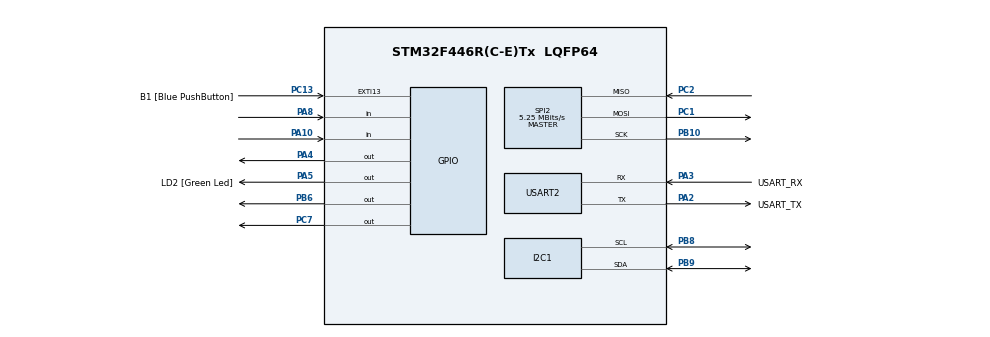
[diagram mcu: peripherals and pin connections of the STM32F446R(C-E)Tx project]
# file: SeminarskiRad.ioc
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Mcu.Family=STM32F4
Mcu.Name=STM32F446R(C-E)Tx
Mcu.Package=LQFP64
NVIC.EXTI15_10_IRQn=true\:0\:0\:false\:false\:true\:true\:true\:true
NVIC.PriorityGroup=NVIC_PRIORITYGROUP_0
PA10.Signal=GPIO_Input
PA13.GPIO_Label=TMS
PA13.Mode=Serial_Wire
PA13.Signal=SYS_JTMS-SWDIO
PA14.GPIO_Label=TCK
PA14.Mode=Serial_Wire
PA14.Signal=SYS_JTCK-SWCLK
PA2.GPIO_Label=USART_TX
PA2.Mode=Asynchronous
PA2.Signal=USART2_TX
PA3.GPIO_Label=USART_RX
PA3.Mode=Asynchronous
PA3.Signal=USART2_RX
PA4.Signal=GPIO_Output
PA5.GPIO_Label=LD2 [Green Led]
PA5.Signal=GPIO_Output
PA8.Signal=GPIO_Input
PB10.Mode=Full_Duplex_Master
PB10.Signal=SPI2_SCK
PB3.GPIO_Label=SWO
PB3.Signal=SYS_JTDO-SWO
PB6.Signal=GPIO_Output
PB8.Mode=I2C
PB8.Signal=I2C1_SCL
PB9.Mode=I2C
PB9.Signal=I2C1_SDA
PC1.Mode=Full_Duplex_Master
PC1.Signal=SPI2_MOSI
PC13.GPIO_Label=B1 [Blue PushButton]
PC13.GPIO_ModeDefaultEXTI=GPIO_MODE_IT_FALLING
PC13.GPIO_PuPd=GPIO_PULLDOWN
PC13.Signal=GPXTI13
PC14-OSC32_IN.Mode=LSE-External-Oscillator
PC14-OSC32_IN.Signal=RCC_OSC32_IN
PC15-OSC32_OUT.Mode=LSE-External-Oscillator
PC15-OSC32_OUT.Signal=RCC_OSC32_OUT
PC2.Mode=Full_Duplex_Master
PC2.Signal=SPI2_MISO
PC7.Signal=GPIO_Output
PH0-OSC_IN.Mode=HSE-External-Oscillator
PH0-OSC_IN.Signal=RCC_OSC_IN
PH1-OSC_OUT.Mode=HSE-External-Oscillator
PH1-OSC_OUT.Signal=RCC_OSC_OUT
ProjectManager.HeapSize=0x200
ProjectManager.StackSize=0x400
ProjectManager.TargetToolchain=STM32CubeIDE
RCC.48MHZClocksFreq_Value=84000000
RCC.AHBFreq_Value=84000000
RCC.APB1CLKDivider=RCC_HCLK_DIV2
RCC.APB1Freq_Value=42000000
RCC.APB1TimFreq_Value=84000000
RCC.APB2Freq_Value=84000000
RCC.APB2TimFreq_Value=84000000
RCC.CortexFreq_Value=84000000
RCC.FLatency-AdvancedSettings=FLASH_LATENCY_2
RCC.HCLKFreq_Value=84000000
RCC.HSE_VALUE=8000000
RCC.HSI_VALUE=16000000
RCC.PLLM=8
RCC.PLLN=84
RCC.SYSCLKFreq_VALUE=84000000
RCC.SYSCLKSource=RCC_SYSCLKSOURCE_PLLCLK
RCC.USBFreq_Value=84000000
RCC.VCOOutputFreq_Value=168000000
SPI2.BaudRatePrescaler=SPI_BAUDRATEPRESCALER_8
SPI2.CalculateBaudRate=5.25 MBits/s
SPI2.Direction=SPI_DIRECTION_2LINES
SPI2.Mode=SPI_MODE_MASTER
SPI2.VirtualType=VM_MASTER
USART2.VirtualMode=VM_ASYNC
board=NUCLEO-F446RE

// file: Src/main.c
/* USER CODE BEGIN Header */
/**
  ******************************************************************************
  * @file           : main.c
  * @brief          : Main program body
  ******************************************************************************
  * @attention
  *
  * Copyright (c) 2025 STMicroelectronics.
  * All rights reserved.
  *
  * This software is licensed under terms that can be found in the LICENSE file
  * in the root directory of this software component.
  * If no LICENSE file comes with this software, it is provided AS-IS.
  *
  ******************************************************************************
  */
/* USER CODE END Header */
#include "main.h"
#include "i2c.h"
#include "spi.h"
#include "usart.h"
#include "gpio.h"
#include <string.h>
#include <stdio.h>

/* USER CODE BEGIN PD */
// I2C adresa PCF8574T shiftana u lijevo za 1 jer I2C treba 7-bit adresiranje
#define PCF8574T_ADDRESS  0x27 << 1 // 0x4E

// LCD
#define LCD_BACKLIGHT 0x08      // Upravlja LCD pozadinskim svjetlom (0x08 = ON)
#define LCD_ENABLE    0x04      // Omogućuje pin za LCD operacije (slanje podatka ili komandi)
#define LCD_RS        0x01      // Odabir registara, 0 = LCD ceka naredbu, 1 = ceka podatke za prikaz

// RFID Komande
#define PCD_IDLE        0x00
#define PCD_AUTHENT     0x0E
#define PCD_RECEIVE     0x08
#define PCD_TRANSMIT    0x04
#define PCD_TRANSCEIVE  0x0C    // Prenosi i prima podatke, komunikacija sa karticom
#define PCD_RESETPHASE  0x0F    // soft reset MFRC522

// RFID Registri
#define CommandReg        0x01  // Zadaje RFID-u koju komandu da izvrši
#define CommIEnReg        0x02  // Omogućuje prekid kada se nešto dogodi
#define CommIrqReg        0x04  // Pokazuje je li neka operacija završena
#define DivIrqReg        0x05   // nadzire ostale uvjete prekida
#define ErrorReg         0x06   // detektira greške u komunikaciji
#define FIFODataReg      0x09   // FIFODataReg je registar kroz koji se šalju i primaju podaci
#define FIFOLevelReg     0x0A   // Koliko podataka je trenutno u FIFO memoriji.
#define WaterLevelReg    0x0B   // Postavlja granicu koliko podataka smije biti u FIFO bufferu
#define ControlReg       0x0C   // Sadrži kontrolne bitove
#define BitFramingReg    0x0D   // Koliko bita treba poslati
#define CollReg          0x0E   // Provjerava je li bilo sudara podataka prilikom komunikacije sa više kartica
#define ModeReg          0x11   // Postavlja osnovni radni način RFID čitača.
#define TxControlReg     0x14   // Pali antenu, bez ovog RFID ne šalje ništa
#define TxASKReg         0x15   // Amplitude Shift Keying je metoda koju čitač koristi za slanje podataka kartici. Ovaj registar određuje kako se točno oblikuje izlazni signal.
// Podešavaju tajmer u RFID čipu.
#define TModeReg         0x2A
#define TPrescalerReg    0x2B   // Timer prescaler settings, određuje brzinu brojanja
#define TReloadRegH      0x2C   // gornji bajt tajmera
#define TReloadRegL      0x2D   // donji bajt tajmera

// RFID PICC Komande
#define PICC_ANTICOLL    0x93   // Čita UID i sprječava da više kartica zbune čitač
// Prva komanda koju RFID čitač šalje nakon što upali antenu
#define PICC_REQIDL      0x26   // Detekcija RFID kartice u mirovanju

#define MFRC522_SPI      &hspi2
#define RFID_RST_PIN     GPIO_PIN_8 // reset
#define RFID_RST_PORT    GPIOA
// NSS je signalna linija koja se koristi za omogućavanje ili onemogućavanje komunikacije s određenim SLAVE uređajem
#define RFID_NSS_PIN     GPIO_PIN_4 // čip selecet, aktivno kad je low
#define RFID_NSS_PORT    GPIOA
/* USER CODE END PD */

/* USER CODE BEGIN PV */

//========================//
//   KARTICE STUDENATA    //
//========================//
const uint8_t Student1[4] = {0x16, 0xFC, 0xDE, 0x12};
const uint8_t Student2[4] = {0x94, 0x24, 0x09, 0x1E};
const uint8_t Student3[4] = {0x67, 0x64, 0xE8, 0x2B};
//const uint8_t Student4[4] = {0xEA, 0x4C, 0xC0, 0x2E};

//=========================//
//   BROJAC PRISUTNOSTI    //
//=========================//
// Svaki student ima svoj brojač prisutnosti, indeks odgovara studentu (0=Student1, 1=Student2, 2=Student3)
uint32_t attendance[3] = {0, 0, 0};

//======================//
//   PINovi STUDENATA   //
//======================//
const char Student1_PIN[] = "1234";
const char Student2_PIN[] = "4545";
const char Student3_PIN[] = "2323";

//===========================//
//   PRACENJE DOLAZAKA       //
//===========================//
const char *StudentNames[3] = {"Adrian", "Sara", "Iva"}; // imena za prikaz na LCD-u

uint8_t presentToday[3] = {0, 0, 0}; // 1 = bio na satu danas, 0 = nije

//==================================//
//   BROJAC ODRZANIH SATI           //
//==================================//
//broji koliko je sati odrzano, pocinje na 1 jer se smatra da je plocica u prvom satu od trenutka kad se upali
uint32_t classesHeld = 1;
/* USER CODE END PV */

void SystemClock_Config(void);
/* USER CODE BEGIN PFP */

//=============================//
//   LCD FUNCTION PROTOTYPES   //
//=============================//
void I2C_LCD_Init(void);
void I2C_LCD_Send_Cmd(uint8_t cmd) ;               // Šalje naredbu LCD-u (npr. očisti ekran)
void I2C_LCD_Send_Data(uint8_t data);              // Šalje podatak (znak) na LCD za prikaz (npr. pokaži znak, broj...)
void I2C_LCD_Send_String(char *str);               // Šalje tekst (string) na LCD za prikaz
void I2C_LCD_Send_Byte(uint8_t val, uint8_t mode); // I2C_LCD_Send_Cmd i Data zovu ovu funkciju koja određuje oće li se tretirati kao naredba 0 ili podatak 1
void I2C_LCD_Pulse_En(uint8_t data);               // Šalje kratki signal bez kojeg LCD ništa ne šalje

//==============================//
//   RFID FUNCTION PROTOTYPES   //
//==============================//
void RC522_Init(void);
void RC522_WriteRegister(uint8_t reg, uint8_t value); // 1.šalje adresu "reg" u koju se piše / 2.šalje "value" vrijednost koja se piše (tako se RFIDu govori da npr. upali antenu)
uint8_t RC522_ReadRegister(uint8_t reg);              // Pročita što piše u određenom registru "reg"
uint8_t RC522_Request(uint8_t *cardType);             // Provjerava je li kartica prisutna u polju čitača i identificira njezin tip - Ako je - vraća 1 / Nije - 0
uint8_t RC522_Anticoll(uint8_t *serNum);              // Sprječavanja sudare (ako ima više kartica) kako bi odabrao jednu karticu i pročitao njezin UID
void RC522_Reset(void);
void RC522_AntennaOn(void);                           // Uključi antenu RFID čitača i tako omogućuje komunikaciju sa karticama

//==============================//
//   PIN FUNCTION PROTOTYPE     //
//==============================//
uint8_t WaitForPIN(const char *correctPIN); // Čeka unos PINa putem UART-a i uspoređuje ga s ispravnim

//==============================//
//  SUMMARY FUNCTION PROTOTYPE  //
//==============================//
void ShowClassSummary(void); // Prikazuje na LCD-u tko je bio na satu, a tko nije

//============================//
//   POSTOTAK PROTOTYPE       //
//============================//
void ShowAttendancePercentage(void); // Prikazuje postotak dolazaka za svakog studenta (attendance / classesHeld)

/* USER CODE END PFP */

/* USER CODE BEGIN 0 */

// Varijable su deklarirane negdje drugdje
// "extern" korsitim zato što omogućuje da ih koristim u bilo kojem dijelu programa bez potrebe za ponovnim definiranjem
extern I2C_HandleTypeDef hi2c1;
extern SPI_HandleTypeDef hspi2;
extern UART_HandleTypeDef huart2;

//===========================//
//   LCD CONTROL FUNCTIONS   //
//===========================//
// Funkcija za slanje bajta preko I2C
// Šalje bajt (val) u dvije polovice jer je u 4-bitnom modu (4 gornja i 4 donja)
void I2C_LCD_Send_Byte(uint8_t val, uint8_t mode) {
    uint8_t high_nibble = (val & 0xF0) | LCD_BACKLIGHT | mode;        // uzima gornjih 4 bita(7-4) od bajta "val" i kombinira ih sa LCD_BACKLIGHT i mode, donje bitove (3-0) postavlja na 0
    uint8_t low_nibble = ((val << 4) & 0xF0) | LCD_BACKLIGHT | mode;  // uzima donja 4 bita(3-0) od bajta "val" i shifta u lijevo za 4 u poziciju high nibblea, donje bitove postavlja na 0
    I2C_LCD_Pulse_En(high_nibble); // Prvo šalje gornja 4 bita
    I2C_LCD_Pulse_En(low_nibble);  // Zatim šalje donja 4 bita
}

// Generira enable puls
void I2C_LCD_Pulse_En(uint8_t data) { // uzima podatke koje već imamo, dodaje EN bit i privremeno sprema u "temp", pa kad ga pošaljemo LCD-u, linija EN ide u 1 i omogućava da LCD pročita podatke
    uint8_t temp = data | LCD_ENABLE; // EN = 1, svi ostali bitovi ostaju isti zbog |
    HAL_I2C_Master_Transmit(&hi2c1, PCF8574T_ADDRESS, &temp, 1, HAL_MAX_DELAY); // šalje pripremljeni bajt "temp" preko I2C sabirnice na PCF8574T
    HAL_Delay(1);
    temp &= ~LCD_ENABLE; // invertira brojeve - sve je 1 osim EN bita koji je 0
    HAL_I2C_Master_Transmit(&hi2c1, PCF8574T_ADDRESS, &temp, 1, HAL_MAX_DELAY); // isto kao i ovo gore ali sada "temp" ima EN pin očišćen
    HAL_Delay(1);
}

// Funkcija za slanje komande LCD-u
// 0 indikator da se šalje naredba
void I2C_LCD_Send_Cmd(uint8_t cmd) {
    I2C_LCD_Send_Byte(cmd, 0);
}

// Funkcija za slanje podataka (data)
void I2C_LCD_Send_Data(uint8_t data) {
    I2C_LCD_Send_Byte(data, LCD_RS);  // RS = 1 - znači da se šalje podatak, LCD_RS definiran gore
}

// Funkcija za slanje stringa na LCD
void I2C_LCD_Send_String(char *str) {
    while (*str) {                    // while prolazi kroz svaki znak stringa dok zadnji znak nije \0 i šalje ga pomoću I2C_LCD_Send_Data()
        I2C_LCD_Send_Data(*str++);    // *str++ pomiče pokazivač na sljedeći znak u nizu
    }
}

// Inicijalizacija LCD-a
void I2C_LCD_Init(void) {
    HAL_Delay(50);
    I2C_LCD_Send_Cmd(0x33); // forsiranje LCD-a u 4-bitni način rada
    HAL_Delay(5);
    I2C_LCD_Send_Cmd(0x32); // potvrda da je u 4-bitnom načinu
    HAL_Delay(5);
    I2C_LCD_Send_Cmd(0x28); // 4-bit, 2 linije, 5x8 font
    I2C_LCD_Send_Cmd(0x0C); // Uključi prikaz, isključi kursor
    I2C_LCD_Send_Cmd(0x06); // Automatski pomak kursora
    I2C_LCD_Send_Cmd(0x01); // Očisti zaslon
    HAL_Delay(2);
}

//===========================//
//   RFID READER FUNCTIONS   //
//===========================//
// Prvi korak u SPI, priprema čip za primanje adrese i vrijednosti registra
void RC522_WriteRegister(uint8_t reg, uint8_t value) {
	// NSS (Slave Selecet) se postavlja na LOW što znači da se RFID modul aktivira i spreman je primiti podatke putem SPI-a
    HAL_GPIO_WritePin(RFID_NSS_PORT, RFID_NSS_PIN, GPIO_PIN_RESET);
    uint8_t data[2];             // kreira polje od 2 bajta koji se šalju preko SPI
    data[0] = (reg << 1) & 0x7E; // adresa registra shiftana ulijevo za 1 i "maskirana" s 0x7E
    data[1] = value;             // vrijednost koja se upisuje u reigstar
    // šalje 2 bajta putem SPI (prvi bajt - adresa registra, drugi bajt - vrijednost koja se upisuje u taj registar)
    HAL_SPI_Transmit(MFRC522_SPI, data, 2, HAL_MAX_DELAY); // šalje 2 bajta data od gore čipu preko SPI
    // NSS se postavalja na HIGH, završava SPI prijenos i RFID zna da je upis podataka završen
    HAL_GPIO_WritePin(RFID_NSS_PORT, RFID_NSS_PIN, GPIO_PIN_SET);
}

// Pomoću SPI-a čita vrijednosti iz registra RFID-a
uint8_t RC522_ReadRegister(uint8_t reg) {
	// NSS je LOW (omogućuje komunikaciju između mikrokontrolera i RFID-a)
    HAL_GPIO_WritePin(RFID_NSS_PORT, RFID_NSS_PIN, GPIO_PIN_RESET);
    uint8_t data[2];
    data[0] = ((reg << 1) & 0x7E) | 0x80; // komanda za čitanje (bit 7 = 1 za čitanje)
    data[1] = 0;                          // lažni bajt jer čip vraća vrijednost kao odgovor
    HAL_SPI_TransmitReceive(MFRC522_SPI, data, data, 2, HAL_MAX_DELAY); // istovremeno se pomiču 2 bajta, 1. je "smeće" 2. je zapravo vrijednost registra
    // NSS je HIGH (završava SPI komunikacija)
    HAL_GPIO_WritePin(RFID_NSS_PORT, RFID_NSS_PIN, GPIO_PIN_SET);
    return data[1];
}
// Postavlja (uključuje) određene bitove u zadanom registru RFID čitača / npr. uključivanje antene
void RC522_SetBitMask(uint8_t reg, uint8_t mask) {
    uint8_t tmp = RC522_ReadRegister(reg); // pročita trenutnu vrijednost "reg" i spremi u privremenu varijablu tmp
    RC522_WriteRegister(reg, tmp | mask);  // koristi OR da bi postavio na 1 one bitove koji su 1 u mask
}
// Briše određene bitove u zadanom registru RFID-a
void RC522_ClearBitMask(uint8_t reg, uint8_t mask) { // postavi na 0 bitove u registru čiša bez da dira ostale bitove
    uint8_t tmp = RC522_ReadRegister(reg);           // pročita trenutni sadržaj "reg" i sprema se u "tmp"
    RC522_WriteRegister(reg, tmp & (~mask));         // AND s negacijom - isključi (postavi na 0) bitove definirane u mask / Zapisuje natrag izmijenjenu vrijednost u registar
}
// Provjerava jel antena OFF, ako je UPALI ju
void RC522_AntennaOn(void) {
    uint8_t temp = RC522_ReadRegister(TxControlReg); // čita sadržaj registra TxControlReg - kontrolira jesu li upravljački programi antene omogućeni ili ne
    if (!(temp & 0x03)) {                            // provjerava najniža 2 bita registra, ako su oba 0 antena je OFF
        RC522_SetBitMask(TxControlReg, 0x03);        // ovo pali antenu
    }
}

void RC522_Reset(void) {
    RC522_WriteRegister(CommandReg, PCD_RESETPHASE); // u CommandReg piše PCD_RESETPHASE time se čip resetira
}

void RC522_Init(void) {
    HAL_GPIO_WritePin(RFID_RST_PORT, RFID_RST_PIN, GPIO_PIN_SET); // reset pin mora biti u visokom stanju za normalan rad
    HAL_Delay(50);

    RC522_Reset();

    // Inicijalizacija timera RFIDa
    RC522_WriteRegister(TModeReg, 0x8D);        // omogućuje automatsko pokretanje timera, ključno za otkrivanje odgovora kartica unutar određenog vremena
    RC522_WriteRegister(TPrescalerReg, 0x3E);   // Postavlja frekvenciju timera na otp 40kHz, to određuje koliko timer brzo odbrojava operacije npr. komunikacija s karticom
    RC522_WriteRegister(TReloadRegL, 30);       // definira koliko dugo čip čeka odgovor kartice
    RC522_WriteRegister(TReloadRegH, 0);

    RC522_WriteRegister(TxASKReg, 0x40);        // 100% ASK modulation (potrebno za pouzdanu komunikaciju s karticama)
    RC522_WriteRegister(ModeReg, 0x3D);         // osigurava da čip koristi ispravne CRC postavke za kartice
    RC522_AntennaOn();                          // Uključuje antenu RFID čitača, bez toga čitač ne može vidjeti kartice.
}
// Glavna komunikacijska funkcija - obavlja komunikaciju između RC522 RFID čitača i kartice
uint8_t RC522_ToCard(uint8_t command, uint8_t *sendData, uint8_t sendLen, uint8_t *backData, uint8_t *backLen) {
    uint8_t status = 0;     // oznaka statusa komunikacije / status: 0=OK, 1=greška
    uint8_t irqEn = 0x00;   // koje prekide treba omogućiti u čipu
    uint8_t waitIRq = 0x00; // koji prekid se očekuje (npr. primljeni podaci ili stanje mirovanja)
    uint8_t lastBits;       // sprema broj valjanih bitova u zadnjem bajtu primljenih podataka
    uint8_t n;              // varijabla za spremanje privremenih vrijednosti (npr. broj bajtova iz FIFO-a)
    uint16_t i;             // brojač za petlje

    switch (command) {
        case PCD_TRANSCEIVE: // naredba koja šalje podatke kartici i prima odgovor
            irqEn = 0x77;    // omogu
            waitIRq = 0x30;  // čeka da se dogodi RxIRq (primljen podatak) ili IdleIRq (gotova operacija)
            break;
        default:
            break;
    }

    RC522_WriteRegister(CommIEnReg, irqEn | 0x80);     // omogućuje specifične prekide (npr. primljenje podatke ili dovršetak naredbe)
    RC522_ClearBitMask(CommIrqReg, 0x80);              // osigurava da zastarjele "flags" ne ometaju novu operaciju
    RC522_SetBitMask(FIFOLevelReg, 0x80);              // FIFO bafer (služi za pohranu podataka sa i na karticu) se prazni i priprema za nove podatke)
    RC522_WriteRegister(CommandReg, PCD_IDLE);         // Postavlja RC552 u PCD_IDLE (Osigurava da nije nijedna stara komanda aktivna) i tako sprjećava konflikte

    // Pisanje podataka u FIFO
    for (i = 0; i < sendLen; i++) {                    // prolazi kroz spremik sendData i zapisuje svaki bajt u FIFO registar
        RC522_WriteRegister(FIFODataReg, sendData[i]); // podaci koji će se prenijeti na karticu
    }

    // Izvršavanje naredbe
    RC522_WriteRegister(CommandReg, command);          // piše odabranu "command" u CommandReg
    if (command == PCD_TRANSCEIVE) {                   // ako je "command" PCD_TRANSCEIVE šalje FIFO podatke kartici
        RC522_SetBitMask(BitFramingReg, 0x80);
    }

    // Čekanje dovršetka naredbe(dok npr.nisu primljeni podaci ili završena operacija ili error)
    i = 2000; // stavio sam 2000 da ne bude beskonačno
    do {
        n = RC522_ReadRegister(CommIrqReg); // ispituje CommIrqReg do 2000 puta čekajući prekid koji oznaćava završetak naredbe
        i--;
    } while ((i != 0) && !(n & 0x01) && !(n & waitIRq)); // i != 0 ponovi petlju dok nije isteklo vrijeme
                                                         // n & 0x01 nastavi petlju dok timer čipa nije istekao
    RC522_ClearBitMask(BitFramingReg, 0x80);             // Osigurava da čip prestane slati podatke nakon što je naredba dovršena
    if (i != 0) {                                        // provjerava je li petlja završila zbog prekida a ne zbog isteka vremena
        if (!(RC522_ReadRegister(ErrorReg) & 0x1B)) {    // ako nije bilo errora status = 0, dolje na kraju else- ako je bilo errora status = 2 pogreška
            status = 0;                                  // status = 0 uspješno
            if (n & irqEn & 0x01) {
                status = 1;                              // status = 1 isteklo vrijeme
            }

            if (command == PCD_TRANSCEIVE) {             // izvršava se samo ako se šalju podaci i očekuju odgovori, ako je nešto drugo preskače se
                n = RC522_ReadRegister(FIFOLevelReg);    // FIFOLevelReg - koliko bajtova je slobodno u FIFO
                lastBits = RC522_ReadRegister(ControlReg) & 0x07; // koliko valjanih bitova ima u posljednjem primljenom bajtu
                if (lastBits) {                          // računa backLen (duljinu odgovora u bitovima)
                    *backLen = (n - 1) * 8 + lastBits;   // ako zadnji bajt nije potpuno popunjen ukupuna duljina je puni bajt
                } else {
                    *backLen = n * 8;                    // else cijeli bajt
                }

                if (n == 0) {                            // Ako nema podataka (n == 0), postavi barem 1 bajt (jer čitanje iz FIFO uvijek treba dati nešto)
                    n = 1;
                }
                if (n > 16) {                            // Ako ima više od 16 bajtova, ograniči na 16
                    n = 16;
                }

                // Čita bajtove iz FIFO i sprema ih (pohranjuje se odgovor kartice
                for (i = 0; i < n; i++) {                // Petlja čita svaki bajt iz FIFO buffer registra FIFODataReg.
                    backData[i] = RC522_ReadRegister(FIFODataReg); // Rezultat se sprema u polje backData
                }
            }
        } else {
            status = 2;
        }
    }

    return status;
}

uint8_t RC522_Request(uint8_t *cardType) {    // deklarira funkciju koja šalje zahtjev za detekciju RFID kartice i pohranjuje njezin tip u "cardType"
    uint8_t status;                           // vraća "status" 0 za uspjeh a 1 za failure
    uint8_t backBits;                         // pohranjuje broj bitova u odgovoru kartice (koji vraća RC522_ToCard)
    RC522_WriteRegister(BitFramingReg, 0x07); // registar koji podešava način kako se šalju i primaju podaci

    cardType[0] = PICC_REQIDL;                // komanda koja detektira karticu u polju čitača, postavlja prvi bajt polja "cardType" na "PICC_REQIDL"
    status = RC522_ToCard(PCD_TRANSCEIVE, cardType, 1, cardType, &backBits); // Poziva "RC522_ToCard" za slanje naredbe "PICC_REQIDL" i primanje odgovora kartice.
 /* PCD_TRANSCEIVE - naredba čitaču da pošalje podatke i primi odgovor
    cardType - podatak koji se šalje,
    1 - broj bajotva koji se šalje,
    cardType - buffer u koji ćemo spremiti podatke koje kartica vrati
    &backBits - koliko bitova je vraćeno. */
    if ((status != 0) || (backBits != 0x10)) { // provjerava je li došlo do greške u komunikaciji
                                               // ako komunikacije nije uspjela ili ako kartica nije vratila očekivanih 16 bitova

        status = 1;                            // "status" se postavlja na 1 = greška
    }

    return status;                             // "status" 0 = uspjeh 1 = neuspjeh
}
// funkcija koja sprječava sudare više kartica
uint8_t RC522_Anticoll(uint8_t *serNum) {      // "serNum" je pokazivač na niz od 5 bajtova (pohranjeni su 4 bajta UID kartice i 1 bajt za kontrolu
    uint8_t status;            // sprema rezultat komunikacije 0 = ok, ako nije 0 greška
    uint8_t i;                 // brojač petlje za izračun kontrolne sume
    uint8_t serNumCheck = 0;   // koristi se za kontrolnu sumu (checksum) - XOR
    uint8_t backLen;           // pohranjuje broj bitova koji vraća "RC522_ToCard"
    RC522_WriteRegister(BitFramingReg, 0x00); // slanje i primanje punih bajtova za naredbu protiv kolizije
    // slanje komandi kartici i zahtjev za njen UID
    serNum[0] = PICC_ANTICOLL; // postavlja 1.bajt "serNum" na anti-collison command kod
    serNum[1] = 0x20;          // osigurava da kartica pošalje puni UID
    // Ovo je zapravo komunikacija s kartiocm, njezin odabir i dovinanje njezinog UIDa
    status = RC522_ToCard(PCD_TRANSCEIVE, serNum, 2, serNum, &backLen);
  /* PCD_TRANSCEIVE - Naredba čipu za slanje podataka i primanje odgovora
     serNum - šaljemo prema kartici
     2 - 2 bajta dužina podatka
     serNum - odgovor kartice UID kontrolni bajt */
    if (status == 0) {                  // osigurava da se validacija izvrši samo ako je odogovor uspješno primljen
        for (i = 0; i < 4; i++) {       // prolazi kroz prva četiri bajda UIDa kartice i računa XOR kako bi se dobio kontrolni bajt (npr. 0x26)
            serNumCheck ^= serNum[i];   // BCC (0x26) se potom uspoređuje s primljenim BCCom koji je poslala kartica
        }
        if (serNumCheck != serNum[i]) { // ako se podudaraju UID je ispravan
            status = 2;                 // ako ne "status" je 2 i to je greška
        }
    }

    return status;
}

/* USER CODE END 0 */

//==========================//
//   WaitForPIN FUNKCIJA    //
//==========================//
// Čeka da student upiše PIN u Serial Monitor (UART2), pa uspoređuje s ispravnim PINom
// Vraća 1 ako je PIN točan, 0 ako nije
uint8_t WaitForPIN(const char *correctPIN) {
    char received[10];
    uint8_t idx = 0;
    uint8_t byte;

    memset(received, 0, sizeof(received));

    // pomakni kursor u 2. red
    I2C_LCD_Send_Cmd(0xC0);

    while (idx < 9) {
        if (HAL_UART_Receive(&huart2, &byte, 1, 10000) == HAL_OK) {
            if (byte == '\r' || byte == '\n') {
                HAL_UART_Transmit(&huart2, (uint8_t *)"\r\n", 2, 100);
                break;
            }
            HAL_UART_Transmit(&huart2, &byte, 1, 100);
            I2C_LCD_Send_Data('*'); // na LCD se ispisuje "*" umjesto stvarne znamenke kao recimo na bankomatu
            received[idx++] = (char)byte;
        } else {
            break;
        }
    }
    received[idx] = '\0'; //null terminator

    if (strcmp(received, correctPIN) == 0) { //string compare, je li unesei PIN isti kao točan PIN
        return 1;  //vrati 1 - točno
    }
    return 0;
}

//==========================//
//   ShowClassSummary       //
//==========================//
// Prikazuje na LCD-u popis tko je bio na satu, tko nije,
void ShowClassSummary(void) {

    // 1. dio - prikaži sve prisutne studente, jednog po jednog
    I2C_LCD_Send_Cmd(0x01);
    I2C_LCD_Send_String("Na satu:");
    HAL_Delay(2000);

    for (uint8_t i = 0; i < 3; i++) { // 3 jer su 3 studenta
        if (presentToday[i] == 1) {   // ako je presentToday[i] == 1, student je prisutan
            I2C_LCD_Send_Cmd(0x01);
            I2C_LCD_Send_String("Prisutni:");
            I2C_LCD_Send_Cmd(0xC0);
            I2C_LCD_Send_String(StudentNames[i]);
            HAL_Delay(2500);
        }
    }

    // 2. dio - prikaži sve odsutne studente, jednog po jednog
    I2C_LCD_Send_Cmd(0x01);
    I2C_LCD_Send_String("Nisu prisutni:");
    HAL_Delay(2000);

    uint8_t anyMissing = 0;
    for (uint8_t i = 0; i < 3; i++) {
        if (presentToday[i] == 0) { //ako je presentToday[i] == 0, student nije prisutan
            anyMissing = 1;
            I2C_LCD_Send_Cmd(0x01);
            I2C_LCD_Send_String("Nisu prisutni:");
            I2C_LCD_Send_Cmd(0xC0);
            I2C_LCD_Send_String(StudentNames[i]);
            HAL_Delay(2500);
        }
    }

    if (anyMissing == 0) {
        I2C_LCD_Send_Cmd(0x01);
        I2C_LCD_Send_String("Svi su prisutni!");
        HAL_Delay(2500);
    }

    // Vrati početnu poruku
    I2C_LCD_Send_Cmd(0x01);
    I2C_LCD_Send_String("Prislonite vasu");
    I2C_LCD_Send_Cmd(0xC0);
    I2C_LCD_Send_String("karticu");
}

//=============================//
//   ShowAttendancePercentage  //
//=============================//
// Prikazuje na LCD-u postotak dolazaka za svakog studenta, jedan po jedan
// Racuna se kao (attendance[i] * 100) / classesHeld (broj STVARNO odrzanih sati)
void ShowAttendancePercentage(void) {

    I2C_LCD_Send_Cmd(0x01);
    I2C_LCD_Send_String("Postotak dolaska:");
    HAL_Delay(2000);

    for (uint8_t i = 0; i < 3; i++) {
    	uint32_t percent = 0;
    	if (classesHeld != 0) {
    	        percent = (attendance[i] * 100UL) / classesHeld;
    	    }

        char line1[16];
        char line2[16];
        sprintf(line1, "%s:", StudentNames[i]);
        sprintf(line2, "%lu/%lu (%lu%%)", attendance[i], classesHeld, percent);

        I2C_LCD_Send_Cmd(0x01);
        I2C_LCD_Send_String(line1);
        I2C_LCD_Send_Cmd(0xC0);
        I2C_LCD_Send_String(line2);
        HAL_Delay(2500);
    }

    // Vrati pocetnu poruku nakon prikaza
    I2C_LCD_Send_Cmd(0x01);
    I2C_LCD_Send_String("Prislonite vasu");
    I2C_LCD_Send_Cmd(0xC0);
    I2C_LCD_Send_String("karticu");
}

int main(void)
{

  /* MCU Configuration--------------------------------------------------------*/

  /* Reset of all peripherals, Initializes the Flash interface and the Systick. */
  HAL_Init();

  /* Configure the system clock */
  SystemClock_Config();

  /* Initialize all configured peripherals */
  MX_GPIO_Init();
  MX_I2C1_Init();
  MX_SPI2_Init();
  MX_USART2_UART_Init();

  // Inicijalizacija LCD and RFID
  I2C_LCD_Init();
  RC522_Init();

  // Početna poruka
  I2C_LCD_Send_Cmd(0x01);
  I2C_LCD_Send_String("Prislonite vasu");
  I2C_LCD_Send_Cmd(0xC0);
  I2C_LCD_Send_String("karticu!");

  /* USER CODE BEGIN 2 */
    uint8_t cardUID[5];
    uint8_t cardType[2];

  /* USER CODE END 2 */

  /* Infinite loop */
  /* USER CODE BEGIN WHILE */

  //===================//
  //   GLAVNA PETLJA   //
  //===================//
  while (1)
  {
	  if (RC522_Request(cardType) == 0) {
	      if (RC522_Anticoll(cardUID) == 0) {
	    	  // Provjeri jel kartica autorizirana
	    	  if (memcmp(cardUID, Student1, 4) == 0) {

	              // Traži unos PINa na LCD-u, student ga upisuje u Serial Monitor na PC-u
	              I2C_LCD_Send_Cmd(0x01);
	              I2C_LCD_Send_String("Unesite vas PIN:");

	              if (WaitForPIN(Student1_PIN)) {

	                  // PIN tocan - povecaj brojac prisutnosti
	                  attendance[0]++;

	                  presentToday[0] = 1;

	                  // Pali zelenu LED lampicu
	                  HAL_GPIO_WritePin(GPIOC, GPIO_PIN_7, GPIO_PIN_SET);

	                  // Pokazi dobrodoslicu i broj prisutnosti
	                  char buf1[16];
	                  I2C_LCD_Send_Cmd(0x01);
	                  I2C_LCD_Send_String("Bok Adrian!");
	                  I2C_LCD_Send_Cmd(0xC0);
	                  sprintf(buf1, "Prisutnost:%lu/%lu", attendance[0], classesHeld);
	                  I2C_LCD_Send_String(buf1);

	                  HAL_Delay(3000);
	                  HAL_GPIO_WritePin(GPIOC, GPIO_PIN_7, GPIO_PIN_RESET);
	              } else {
	                  // PIN netocnan - upali crvenu LED
	                  HAL_GPIO_WritePin(GPIOB, GPIO_PIN_6, GPIO_PIN_SET);
	                  I2C_LCD_Send_Cmd(0x01);
	                  I2C_LCD_Send_String("Pogresan PIN!");
	                  HAL_Delay(3000);
	                  HAL_GPIO_WritePin(GPIOB, GPIO_PIN_6, GPIO_PIN_RESET);
	              }

	              // Vrati pocetnu poruku
	              I2C_LCD_Send_Cmd(0x01);
	              I2C_LCD_Send_String("Prislonite vasu");
	              I2C_LCD_Send_Cmd(0xC0);
	              I2C_LCD_Send_String("karticu");
	              }
	              else if (memcmp(cardUID, Student2, 4) == 0) {

	            	  I2C_LCD_Send_Cmd(0x01);
	            	  I2C_LCD_Send_String("Unesite vas PIN:");

	                  if (WaitForPIN(Student2_PIN)) {

	                      attendance[1]++;

	                      presentToday[1] = 1;

	                      HAL_GPIO_WritePin(GPIOC, GPIO_PIN_7, GPIO_PIN_SET);

	                      char buf2[16];
	                      I2C_LCD_Send_Cmd(0x01);
	                      I2C_LCD_Send_String("Bok Sara!");
	                      I2C_LCD_Send_Cmd(0xC0);
	                      sprintf(buf2, "Prisutnost:%lu/%lu", attendance[1], classesHeld);
	                      I2C_LCD_Send_String(buf2);

	                      HAL_Delay(3000);
	                      HAL_GPIO_WritePin(GPIOC, GPIO_PIN_7, GPIO_PIN_RESET);
	                  } else {
	                      HAL_GPIO_WritePin(GPIOB, GPIO_PIN_6, GPIO_PIN_SET);
	                      I2C_LCD_Send_Cmd(0x01);
	                      I2C_LCD_Send_String("Pogresan PIN!");
	                      HAL_Delay(3000);
	                      HAL_GPIO_WritePin(GPIOB, GPIO_PIN_6, GPIO_PIN_RESET);
	                  }

	                  I2C_LCD_Send_Cmd(0x01);
	                  I2C_LCD_Send_String("Prislonite vasu");
	                  I2C_LCD_Send_Cmd(0xC0);
	                  I2C_LCD_Send_String("karticu");
	              }
	              else if (memcmp(cardUID, Student3, 4) == 0) {

	            	  I2C_LCD_Send_Cmd(0x01);
	            	  I2C_LCD_Send_String("Unesite vas PIN:");

	                  if (WaitForPIN(Student3_PIN)) {

	                      attendance[2]++;

	                      presentToday[2] = 1;

	                      HAL_GPIO_WritePin(GPIOC, GPIO_PIN_7, GPIO_PIN_SET);

	                      char buf3[16];
	                      I2C_LCD_Send_Cmd(0x01);
	                      I2C_LCD_Send_String("Bok Iva!");
	                      I2C_LCD_Send_Cmd(0xC0);
	                      sprintf(buf3, "Prisutnost:%lu/%lu", attendance[2], classesHeld);
	                      I2C_LCD_Send_String(buf3);

	                      HAL_Delay(3000);
	                      HAL_GPIO_WritePin(GPIOC, GPIO_PIN_7, GPIO_PIN_RESET);
	                  } else {
	                      HAL_GPIO_WritePin(GPIOB, GPIO_PIN_6, GPIO_PIN_SET);
	                      I2C_LCD_Send_Cmd(0x01);
	                      I2C_LCD_Send_String("Pogresan PIN!");
	                      HAL_Delay(3000);
	                      HAL_GPIO_WritePin(GPIOB, GPIO_PIN_6, GPIO_PIN_RESET);
	                  }

	                  I2C_LCD_Send_Cmd(0x01);
	                  I2C_LCD_Send_String("Prislonite vasu");
	                  I2C_LCD_Send_Cmd(0xC0);
	                  I2C_LCD_Send_String("karticu");
	              }

	              else
	              {
	              	     HAL_GPIO_WritePin(GPIOB, GPIO_PIN_6, GPIO_PIN_SET);

	              	     I2C_LCD_Send_Cmd(0x01);
	              	     I2C_LCD_Send_String("Nemate");
	              	     I2C_LCD_Send_Cmd(0xC0);
	              	     I2C_LCD_Send_String("pristup!");

	              	     HAL_Delay(3000);
	              	     HAL_GPIO_WritePin(GPIOB, GPIO_PIN_6, GPIO_PIN_RESET);

	              	     I2C_LCD_Send_Cmd(0x01);
	              	     I2C_LCD_Send_String("Prislonite vasu");
	              	     I2C_LCD_Send_Cmd(0xC0);
	              	     I2C_LCD_Send_String("karticu!");
	             }
	         }
	  }
	         //=============================//
	         //   B1 GUMB - PRIKAZ POPISA   //
	         //=============================//
	         // Gumb je spojen tako da je normalno u stanju 1 (HIGH), a kad se pritisne ide na 0 (LOW)
	         if (HAL_GPIO_ReadPin(GPIOC, GPIO_PIN_13) == GPIO_PIN_RESET) {
	             HAL_Delay(50); // mala pauza da se izbjegne debounce
	             if (HAL_GPIO_ReadPin(GPIOC, GPIO_PIN_13) == GPIO_PIN_RESET) { //provjera jel gumb stvarno stisnut

	                 uint32_t pressStart = HAL_GetTick(); // zabiljezi trenutak kad je gumb pritisnut

	                 while (HAL_GPIO_ReadPin(GPIOC, GPIO_PIN_13) == GPIO_PIN_RESET) {
	                     HAL_Delay(10); // cekaj da korisnik otpusti gumb, da se prikaz ne pokrene vise puta
	                 }

	                 uint32_t pressDuration = HAL_GetTick() - pressStart; // koliko dugo je gumb bio stisnut

	                 if (pressDuration >= 2000) { // ako je gumb pritisnut 2+ sekundee

	                     // Resetiraj tko je danas prisutan, NE diraj attendance[]
	                     for (uint8_t i = 0; i < 3; i++) {
	                         presentToday[i] = 0;
	                     }
	                     classesHeld++; // povećavaj broj nastavnih sati

	                     // Ispisuje redni broj novog sata, npr. "Novi nastavni sat (2)", "(3)" itd.
	                     char classMsg[17];
	                     I2C_LCD_Send_Cmd(0x01);
	                     I2C_LCD_Send_String("Novi nastavni");
	                     I2C_LCD_Send_Cmd(0xC0);
	                     sprintf(classMsg, "sat (%lu)", classesHeld);
	                     I2C_LCD_Send_String(classMsg);
	                     HAL_Delay(2000);

	                     I2C_LCD_Send_Cmd(0x01);
	                     I2C_LCD_Send_String("Prislonite vasu");
	                     I2C_LCD_Send_Cmd(0xC0);
	                     I2C_LCD_Send_String("karticu");
	                 } else {
	                     // Kratak pritisak = prikazi popis i postotke (kao i prije)
	                     ShowClassSummary(); // prikazi tko je na satu, a tko nije
	                     ShowAttendancePercentage(); // prikazi postotak dolazaka za svakog studenta
	                 }
	             }
	         }

	         HAL_Delay(100);
	         /* USER CODE END WHILE */

	           }
	         }

	         /**
	           * @brief System Clock Configuration
	           * @retval None
	           */
	         void SystemClock_Config(void)
	         {
	           RCC_OscInitTypeDef RCC_OscInitStruct = {0};
	           RCC_ClkInitTypeDef RCC_ClkInitStruct = {0};

	           /** Configure the main internal regulator output voltage
	           */
	           __HAL_RCC_PWR_CLK_ENABLE();
	           __HAL_PWR_VOLTAGESCALING_CONFIG(PWR_REGULATOR_VOLTAGE_SCALE3);

	           /** Initializes the RCC Oscillators according to the specified parameters
	           * in the RCC_OscInitTypeDef structure.
	           */
	           RCC_OscInitStruct.OscillatorType = RCC_OSCILLATORTYPE_HSI;
	           RCC_OscInitStruct.HSIState = RCC_HSI_ON;
	           RCC_OscInitStruct.HSICalibrationValue = RCC_HSICALIBRATION_DEFAULT;
	           RCC_OscInitStruct.PLL.PLLState = RCC_PLL_ON;
	           RCC_OscInitStruct.PLL.PLLSource = RCC_PLLSOURCE_HSI;
	           RCC_OscInitStruct.PLL.PLLM = 16;
	           RCC_OscInitStruct.PLL.PLLN = 336;
	           RCC_OscInitStruct.PLL.PLLP = RCC_PLLP_DIV4;
	           RCC_OscInitStruct.PLL.PLLQ = 2;
	           RCC_OscInitStruct.PLL.PLLR = 2;
	           if (HAL_RCC_OscConfig(&RCC_OscInitStruct) != HAL_OK)
	           {
	             Error_Handler();
	           }

	           /** Initializes the CPU, AHB and APB buses clocks
	           */
	           RCC_ClkInitStruct.ClockType = RCC_CLOCKTYPE_HCLK|RCC_CLOCKTYPE_SYSCLK
	                                       |RCC_CLOCKTYPE_PCLK1|RCC_CLOCKTYPE_PCLK2;
	           RCC_ClkInitStruct.SYSCLKSource = RCC_SYSCLKSOURCE_PLLCLK;
	           RCC_ClkInitStruct.AHBCLKDivider = RCC_SYSCLK_DIV1;
	           RCC_ClkInitStruct.APB1CLKDivider = RCC_HCLK_DIV2;
	           RCC_ClkInitStruct.APB2CLKDivider = RCC_HCLK_DIV1;

	           if (HAL_RCC_ClockConfig(&RCC_ClkInitStruct, FLASH_LATENCY_2) != HAL_OK)
	           {
	             Error_Handler();
	           }
	         }

	         /**
	           * @brief  This function is executed in case of error occurrence.
	           * @retval None
	           */
	         void Error_Handler(void)
	         {
	           __disable_irq();
	           while (1)
	           {
	           }
	         }

	         #ifdef  USE_FULL_ASSERT
	         /**
	           * @brief  Reports the name of the source file and the source line number
	           *         where the assert_param error has occurred.
	           * @param  file: pointer to the source file name
	           * @param  line: assert_param error line source number
	           * @retval None
	           */
	         void assert_failed(uint8_t *file, uint32_t line)
	         {
	         }
	         #endif /* USE_FULL_ASSERT */
